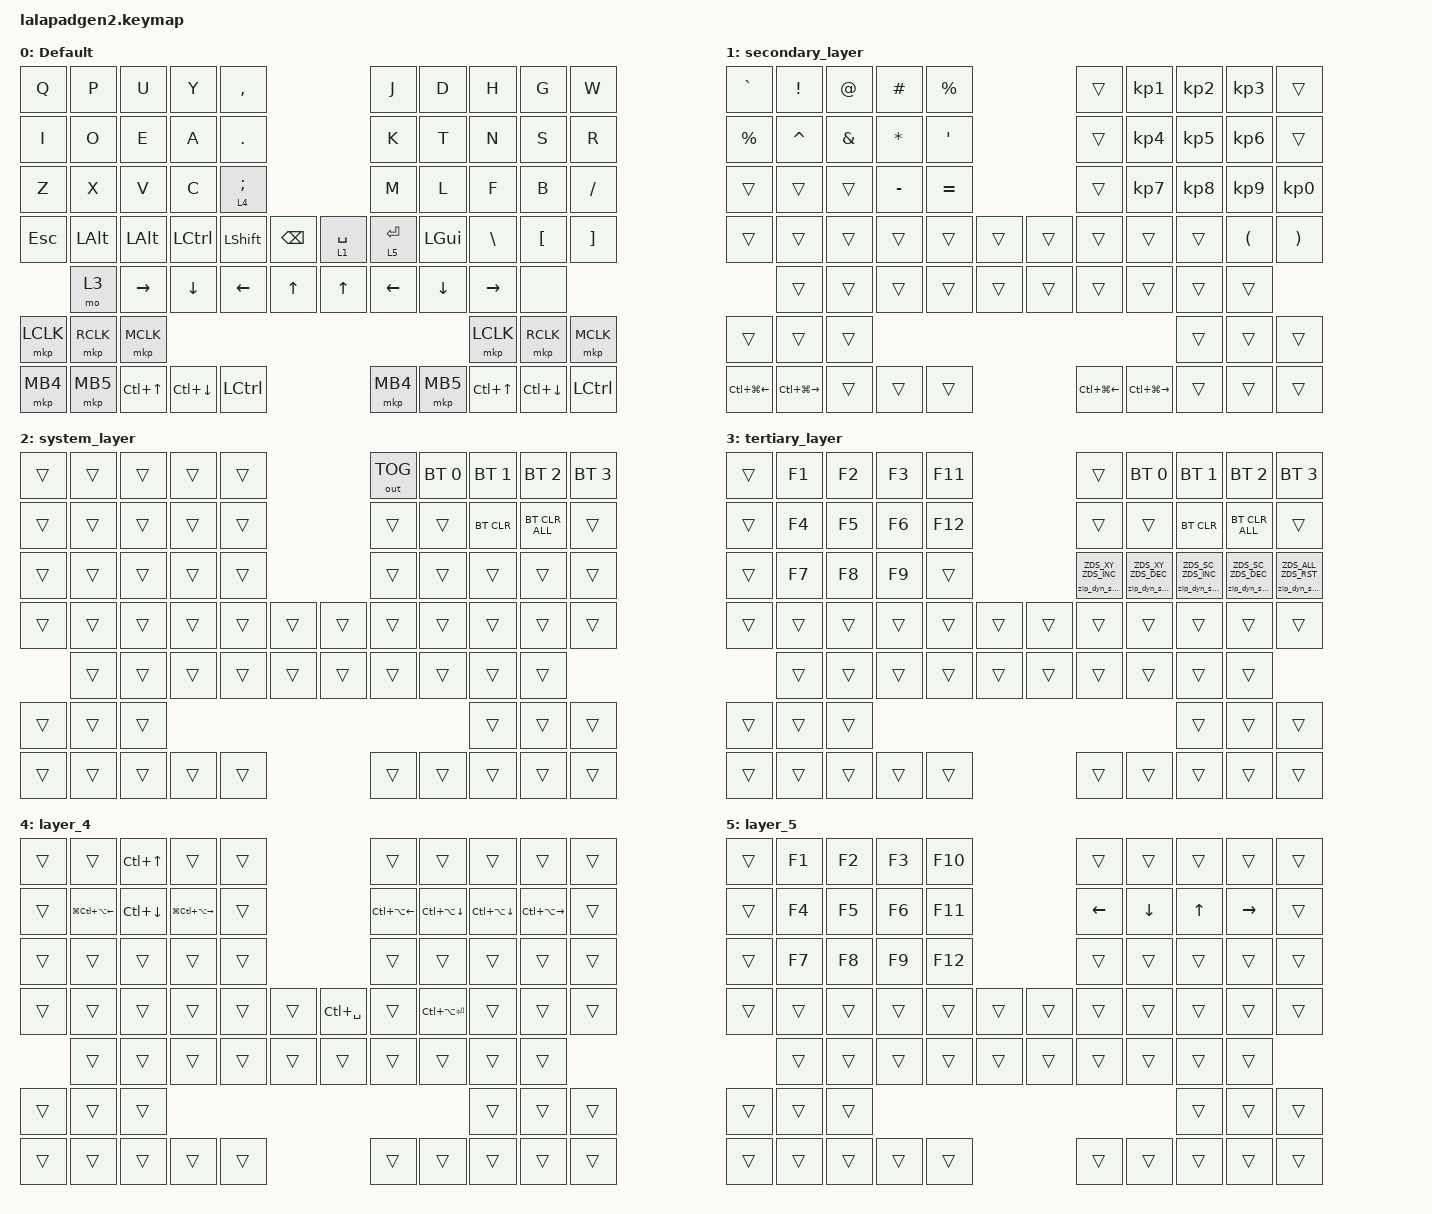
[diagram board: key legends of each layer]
#include <input/processors.dtsi>
#include <dt-bindings/zmk/zip_dynamic_scale.h>
#include <behaviors.dtsi>
#include <dt-bindings/zmk/bt.h>
#include <dt-bindings/zmk/keys.h>
#include <dt-bindings/zmk/outputs.h>
#include <dt-bindings/zmk/pointing.h>

#define DEFAULT_LAYER   0
#define SECONDARY_LAYER 1
#define TERTIARY_LAYER  2
#define SYSTEM_LAYER    3

&mt { quick-tap-ms = <200>; };

&lt { quick-tap-ms = <200>; };

/ {
    behaviors {
        zip_dyn_scale: zip_dyn_scale {
            compatible = "zmk,behavior-zip-dynamic-scale";
            #binding-cells = <2>;
        };

        zip_dyn_scale_set: zip_dyn_scale_set {
            compatible = "zmk,behavior-zip-dynamic-scale-set";
            #binding-cells = <2>;
        };

        mt2: mod_tap2 {
            compatible = "zmk,behavior-hold-tap";
            #binding-cells = <2>;
            flavor = "tap-preferred";
            tapping-term-ms = <200>;
            quick-tap-ms = <200>;
            require-prior-idle-ms = <125>;
            bindings = <&kp>, <&kp>;
        };

        tap_dance_layer_1and2: tap_dance_layer_1and2 {
            compatible = "zmk,behavior-tap-dance";
            label = "td_mo12";
            #binding-cells = <0>;
            bindings = <&mo 1>, <&mo 3>;
        };
    };

    combos {
        compatible = "zmk,combos";

        CONBO_ESC {
            bindings = <&kp ESCAPE>;
            key-positions = <0 1>;
        };

        COMBO_TAB {
            bindings = <&kp TAB>;
            key-positions = <10 11>;
        };

        shift_tab {
            bindings = <&kp LS(TAB)>;
            key-positions = <11 12>;
        };

        henkan {
            bindings = <&kp LC(SPACE)>;
            key-positions = <3 4>;
        };
    };

    keymap {
        compatible = "zmk,keymap";

        DEFAULT_LAYER {
            display-name = "Default";
            bindings = <
&kp Q       &kp P         &kp U             &kp Y               &kp COMMA                                    &kp J        &kp D         &kp H             &kp G               &kp W
&kp I       &kp O         &kp E             &kp A               &kp PERIOD                                   &kp K        &kp T         &kp N             &kp S               &kp R
&kp Z       &kp X         &kp V             &kp C               &lt 4 SEMICOLON                              &kp M        &kp L         &kp F             &kp B               &kp SLASH
&kp ESCAPE  &kp LEFT_ALT  &kp LALT          &kp LCTRL           &kp LEFT_SHIFT   &kp BACKSPACE  &lt 1 SPACE  &lt 5 ENTER  &kp LEFT_GUI  &kp BACKSLASH     &kp LEFT_BRACKET    &kp RIGHT_BRACKET
            &mo 3         &kp RIGHT         &kp DOWN            &kp LEFT         &kp UP         &kp UP       &kp LEFT     &kp DOWN      &kp RIGHT         &none
&mkp LCLK   &mkp RCLK     &mkp MCLK                                                                                                     &mkp LCLK         &mkp RCLK           &mkp MCLK
&mkp MB4    &mkp MB5      &kp LC(UP_ARROW)  &kp LC(DOWN_ARROW)  &kp LCTRL                                    &mkp MB4     &mkp MB5      &kp LC(UP_ARROW)  &kp LC(DOWN_ARROW)  &kp LCTRL
            >;
        };

        SECONDARY_LAYER {
            display-name = "secondary_layer";
            bindings = <
&kp GRAVE         &kp EXCLAMATION    &kp AT_SIGN    &kp HASH      &kp PERCENT                  &trans            &kp KP_NUMBER_1    &kp KP_NUMBER_2  &kp KP_NUMBER_3       &trans
&kp PERCENT       &kp CARET          &kp AMPERSAND  &kp ASTERISK  &kp SQT                      &trans            &kp KP_NUMBER_4    &kp KP_NUMBER_5  &kp KP_NUMBER_6       &trans
&trans            &trans             &trans         &kp MINUS     &kp EQUAL                    &trans            &kp KP_NUMBER_7    &kp KP_NUMBER_8  &kp KP_NUMBER_9       &kp KP_NUMBER_0
&trans            &trans             &trans         &trans        &trans       &trans  &trans  &trans            &trans             &trans           &kp LEFT_PARENTHESIS  &kp RIGHT_PARENTHESIS
                  &trans             &trans         &trans        &trans       &trans  &trans  &trans            &trans             &trans           &trans
&trans            &trans             &trans                                                                                         &trans           &trans                &trans
&kp LC(LG(LEFT))  &kp LC(LG(RIGHT))  &trans         &trans        &trans                       &kp LC(LG(LEFT))  &kp LC(LG(RIGHT))  &trans           &trans                &trans
            >;
        };

        SYSTEM_LAYER {
            display-name = "system_layer";
            bindings = <
&trans  &trans  &trans  &trans  &trans                  &out OUT_TOG  &bt BT_SEL 0  &bt BT_SEL 1  &bt BT_SEL 2    &bt BT_SEL 3
&trans  &trans  &trans  &trans  &trans                  &trans        &trans        &bt BT_CLR    &bt BT_CLR_ALL  &trans
&trans  &trans  &trans  &trans  &trans                  &trans        &trans        &trans        &trans          &trans
&trans  &trans  &trans  &trans  &trans  &trans  &trans  &trans        &trans        &trans        &trans          &trans
        &trans  &trans  &trans  &trans  &trans  &trans  &trans        &trans        &trans        &trans
&trans  &trans  &trans                                                              &trans        &trans          &trans
&trans  &trans  &trans  &trans  &trans                  &trans        &trans        &trans        &trans          &trans
            >;
        };

        TERTIARY_LAYER {
            display-name = "tertiary_layer";
            bindings = <
&trans  &kp F1  &kp F2  &kp F3  &kp F11                  &trans                         &bt BT_SEL 0                   &bt BT_SEL 1                   &bt BT_SEL 2                   &bt BT_SEL 3
&trans  &kp F4  &kp F5  &kp F6  &kp F12                  &trans                         &trans                         &bt BT_CLR                     &bt BT_CLR_ALL                 &trans
&trans  &kp F7  &kp F8  &kp F9  &trans                   &zip_dyn_scale ZDS_XY ZDS_INC  &zip_dyn_scale ZDS_XY ZDS_DEC  &zip_dyn_scale ZDS_SC ZDS_INC  &zip_dyn_scale ZDS_SC ZDS_DEC  &zip_dyn_scale ZDS_ALL ZDS_RST
&trans  &trans  &trans  &trans  &trans   &trans  &trans  &trans                         &trans                         &trans                         &trans                         &trans
        &trans  &trans  &trans  &trans   &trans  &trans  &trans                         &trans                         &trans                         &trans
&trans  &trans  &trans                                                                                                 &trans                         &trans                         &trans
&trans  &trans  &trans  &trans  &trans                   &trans                         &trans                         &trans                         &trans                         &trans
            >;
        };

        layer_4 {
            bindings = <
&trans  &trans                      &kp LC(UP_ARROW)  &trans                 &trans                         &trans            &trans                  &trans                  &trans             &trans
&trans  &kp LG(LC(LA(LEFT_ARROW)))  &kp LC(DOWN)      &kp LG(LC(LA(RIGHT)))  &trans                         &kp LC(LA(LEFT))  &kp LC(LA(DOWN_ARROW))  &kp LC(LA(DOWN_ARROW))  &kp LC(LA(RIGHT))  &trans
&trans  &trans                      &trans            &trans                 &trans                         &trans            &trans                  &trans                  &trans             &trans
&trans  &trans                      &trans            &trans                 &trans  &trans  &kp LC(SPACE)  &trans            &kp LC(LA(ENTER))       &trans                  &trans             &trans
        &trans                      &trans            &trans                 &trans  &trans  &trans         &trans            &trans                  &trans                  &trans
&trans  &trans                      &trans                                                                                                            &trans                  &trans             &trans
&trans  &trans                      &trans            &trans                 &trans                         &trans            &trans                  &trans                  &trans             &trans
            >;
        };

        layer_5 {
            bindings = <
&trans  &kp F1  &kp F2  &kp F3  &kp F10                  &trans    &trans          &trans        &trans     &trans
&trans  &kp F4  &kp F5  &kp F6  &kp F11                  &kp LEFT  &kp DOWN_ARROW  &kp UP_ARROW  &kp RIGHT  &trans
&trans  &kp F7  &kp F8  &kp F9  &kp F12                  &trans    &trans          &trans        &trans     &trans
&trans  &trans  &trans  &trans  &trans   &trans  &trans  &trans    &trans          &trans        &trans     &trans
        &trans  &trans  &trans  &trans   &trans  &trans  &trans    &trans          &trans        &trans
&trans  &trans  &trans                                                             &trans        &trans     &trans
&trans  &trans  &trans  &trans  &trans                   &trans    &trans          &trans        &trans     &trans
            >;
        };
    };

    conditional_layers {
        compatible = "zmk,conditional-layers";

        Cond_Syslayer {
            if-layers = <1 3>;
            then-layer = <2>;
        };
    };
};
